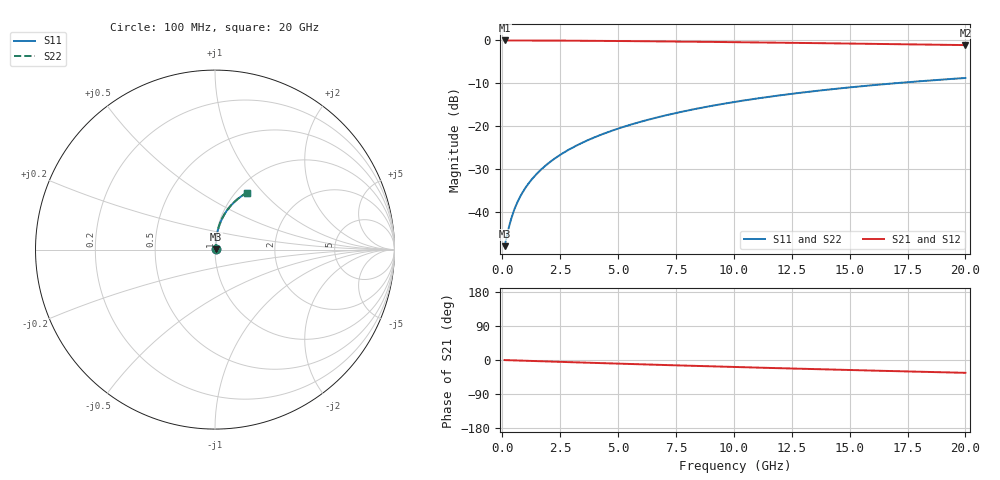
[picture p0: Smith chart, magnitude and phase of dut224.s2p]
! Touchstone file exported from HFSS 2024.1.0
!  File:  C:/UserFiles/LocalFiles/RDL_TSV_Batchsim/temp_RDL_top_224_1778687857.aedt
!  Generated:  12:00:11 AM May 14, 2026
!  Design:  RDL_top
!  Project:  temp_RDL_top_224_1778687857
!  Setup:  Setup1
!  Solution:  Sweep
! Variables:
!  dtsv = 10.80580581um
!  hbump = 3um
!  htsv = 52.51um
!  ldown = 100um
!  lrdl = 438.63um
!  p = 40
!  p1 = 48.57um
!  rhole = 1um
!  t = 450um
!  tdown = 3.915915916um
!  trdl = 2.65um
!  wdown = 15.38538539um
!  wrdl = 18.01um
# GHz S MA R 50.000000
! Terminal data exported
! Port[1] = Box2_T1
! Port[2] = Box2_T2
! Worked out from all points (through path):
!   200 points, 100 MHz to 20 GHz, reference 50 ohm
!   highest |S21| = -0.03 dB at 100 MHz (marker M1); lowest = -1.1 dB at 20 GHz (marker M2)
!   group delay of S21, straight-line fit = 4.68 ps
!   lowest |S11| = -48.0 dB at 100 MHz (marker M3), VSWR 1.01, Z = 50.3 + j0.198 ohm
!   |S11| at or under -10 dB: start of sweep to 16.97 GHz
!   |S22| runs from -48.0 to -8.8 dB; largest |S21 - S12| = 2.6e-15
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0.1  0.003995 29.5  0.9965 -0.2  0.9965 -0.2  0.003995 29.5
! Gamma 0 0 0 0
! Port Impedance 50 0 50 0
0.3  0.006881 57.9  0.9963 -0.6  0.9963 -0.6  0.006881 57.9
0.4  0.008583 63.9  0.9962 -0.8  0.9962 -0.8  0.008583 63.9
0.5  0.01032 67.8  0.996 -1.0  0.996 -1.0  0.01032 67.8
0.6  0.01207 70.6  0.9959 -1.2  0.9959 -1.2  0.01207 70.6
0.8  0.01559 74.2  0.9955 -1.6  0.9955 -1.6  0.01559 74.2
1.1  0.02089 77.5  0.9951 -2.2  0.9951 -2.2  0.02089 77.5
1.3  0.02446 78.9  0.9947 -2.6  0.9947 -2.6  0.02446 78.9
1.6  0.02985 80.4  0.9941 -3.2  0.9941 -3.2  0.02985 80.4
2.1  0.03894 81.8  0.993 -4.1  0.993 -4.1  0.03894 81.8
2.7  0.04999 82.6  0.9913 -5.3  0.9913 -5.3  0.04999 82.6
3.5  0.06494 82.9  0.9886 -6.8  0.9886 -6.8  0.06494 82.9
4.2  0.07821 82.8  0.9857 -8.1  0.9857 -8.1  0.07821 82.8
5  0.09357 82.3  0.982 -9.6  0.982 -9.6  0.09356 82.3
5.9  0.111 81.5  0.9774 -11.3  0.9774 -11.3  0.111 81.5
6.8  0.1286 80.5  0.9724 -12.9  0.9724 -12.9  0.1286 80.5
8.4  0.1599 78.4  0.9627 -15.7  0.9627 -15.7  0.1599 78.4
10.1  0.1928 75.9  0.9517 -18.6  0.9517 -18.6  0.1928 75.9
11.7  0.2232 73.4  0.9408 -21.2  0.9408 -21.2  0.2231 73.4
13.4  0.2545 70.7  0.9288 -23.9  0.9288 -23.9  0.2544 70.7
16.7  0.3118 65.6  0.9047 -29.0  0.9047 -29.0  0.3118 65.6
20  0.364 60.6  0.8799 -33.9  0.8799 -33.9  0.364 60.6
